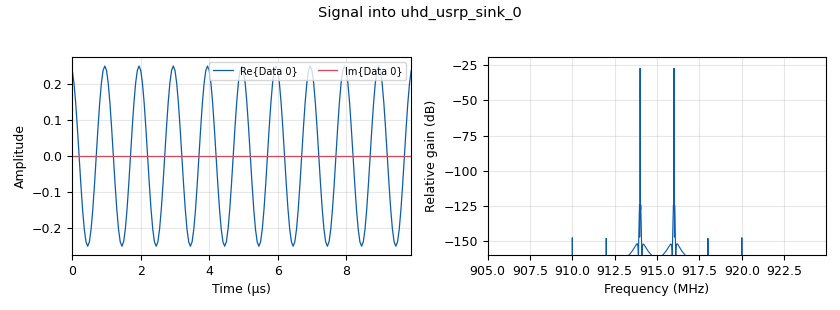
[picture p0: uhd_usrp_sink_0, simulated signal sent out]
options:
  parameters:
    author: ucanlab
    generate_options: qt_gui
    id: Video1
    output_language: python
    title: 'Intro into SDR: USRP'
  states: {}

blocks:
- name: fc_rx
  id: variable_qtgui_range
  parameters:
    label: Center Frequency - Rx
    start: '910000000'
    step: '1000000'
    stop: '920000000'
    value: '915000000'
  states: {}
- name: fc_tx
  id: variable_qtgui_range
  parameters:
    label: Center Frequency - Tx
    start: '910000000'
    step: '1000000'
    stop: '920000000'
    value: '915000000'
  states: {}
- name: hcf
  id: variable_qtgui_range
  parameters:
    label: High Cut Filter
    start: '0'
    step: '1'
    stop: '100'
    value: '10'
  states: {}
- name: interp_0
  id: variable
  parameters:
    value: int(samp_rate/sig_freq)
  states: {}
- name: lcf
  id: variable_qtgui_range
  parameters:
    label: Low Cut Filter
    start: '0'
    step: '1'
    stop: '100'
    value: '2'
  states: {}
- name: samp_rate
  id: variable
  parameters:
    value: '20000000'
  states: {}
- name: sig_freq
  id: variable_qtgui_range
  parameters:
    label: Signal Frequency
    start: '1000000'
    step: '1000000'
    stop: '5000000'
    value: '1000000'
  states: {}
- name: analog_const_source_x_0_0
  id: analog_const_source_x
  parameters:
    const: '0'
    type: float
  states: {}
- name: analog_sig_source_x_1_0
  id: analog_sig_source_x
  parameters:
    amp: '0.25'
    freq: sig_freq
    offset: '0'
    phase: '0'
    samp_rate: samp_rate
    type: float
    waveform: analog.GR_COS_WAVE
  states: {}
- name: band_pass_filter_0
  id: band_pass_filter
  parameters:
    decim: '1'
    gain: '1'
    high_cutoff_freq: hcf
    low_cutoff_freq: lcf
    samp_rate: samp_rate
    type: fir_filter_ccf
    width: '1'
    win: window.WIN_HAMMING
  states: {}
- name: blocks_float_to_complex_0_0
  id: blocks_float_to_complex
  parameters: {}
  states: {}
- name: note_1_0
  id: note
  parameters:
    note: Real Sinusoid
  states: {}
- name: note_1_0_0
  id: note
  parameters:
    note: Receiver
  states: {}
- name: note_1_0_1
  id: note
  parameters:
    note: Transmitter
  states: {}
- name: qtgui_waterfall_sink_x_0_0
  id: qtgui_waterfall_sink_x
  parameters:
    bw: samp_rate
    fc: fc_rx
    fftsize: '1024'
    type: complex
  states: {}
- name: uhd_usrp_sink_0
  id: uhd_usrp_sink
  parameters:
    ant0: TX/RX
    center_freq0: fc_tx
    dev_addr: '"serial=3279417"'
    dev_args: '""'
    gain0: '35'
    len_tag_name: ''
    samp_rate: samp_rate
    sync: none
    type: fc32
  states: {}
- name: uhd_usrp_source_1
  id: uhd_usrp_source
  parameters:
    ant0: RX2
    center_freq0: '915000000'
    dev_addr: '"serial=3279500"'
    dev_args: '""'
    gain0: '40'
    samp_rate: samp_rate
    sync: none
    type: fc32
  states: {}
- name: virtual_sink_0_0_0
  id: virtual_sink
  parameters:
    stream_id: TxSignal
  states: {}
- name: virtual_source_0
  id: virtual_source
  parameters:
    stream_id: TxSignal
  states: {}

connections:
- [analog_const_source_x_0_0, '0', blocks_float_to_complex_0_0, '1']
- [analog_sig_source_x_1_0, '0', blocks_float_to_complex_0_0, '0']
- [band_pass_filter_0, '0', qtgui_waterfall_sink_x_0_0, '0']
- [blocks_float_to_complex_0_0, '0', virtual_sink_0_0_0, '0']
- [uhd_usrp_source_1, '0', band_pass_filter_0, '0']
- [virtual_source_0, '0', uhd_usrp_sink_0, '0']

metadata:
  file_format: 1
  grc_version: 3.10.3.0
